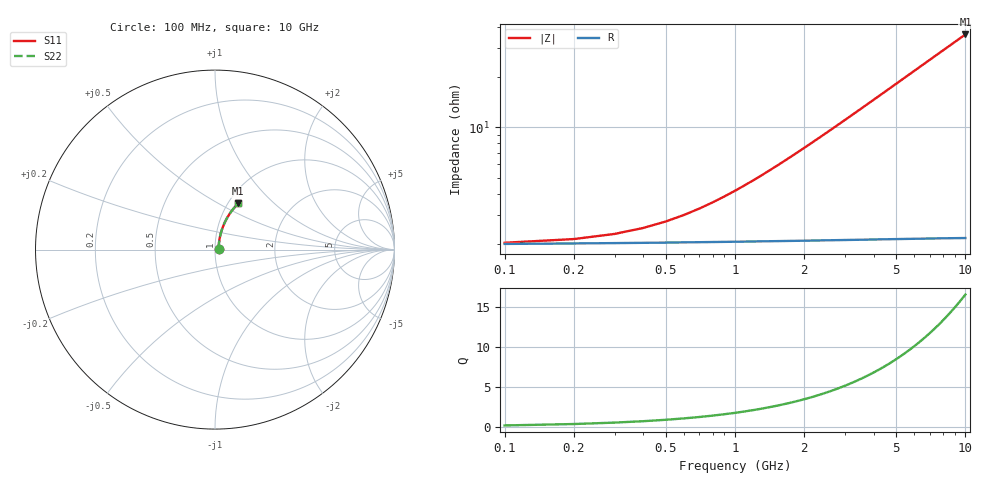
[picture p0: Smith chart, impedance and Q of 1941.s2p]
# Hz S RI R 50.00
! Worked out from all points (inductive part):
!   100 points, 100 MHz to 10 GHz, reference 50 ohm
!   read as one part in series: L = 576 pH near 1.8 GHz
!   highest Q = 16.5 at 10 GHz (marker M1), where L = 571 pH
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1e8  0.0197 0.00296  0.9803 -0.004  0.9803 -0.004  0.0197 0.00296
2e8  0.0198 0.00591  0.9802 -0.008  0.9802 -0.008  0.0198 0.00591
3e8  0.02 0.00887  0.98 -0.012  0.98 -0.012  0.02 0.00887
4e8  0.0201 0.0118  0.9799 -0.016  0.9799 -0.016  0.0201 0.0118
9e8  0.0212 0.0266  0.9788 -0.036  0.9788 -0.036  0.0212 0.0266
1.2e9  0.022 0.0354  0.9779 -0.0479  0.9779 -0.0479  0.022 0.0354
1.5e9  0.0231 0.0442  0.9768 -0.0598  0.9768 -0.0598  0.0231 0.0442
1.8e9  0.0244 0.0529  0.9754 -0.0717  0.9754 -0.0717  0.0244 0.0529
2.1e9  0.0259 0.0616  0.9739 -0.0836  0.9739 -0.0836  0.0259 0.0616
2.5e9  0.0281 0.0731  0.9715 -0.0993  0.9715 -0.0993  0.0281 0.0731
2.9e9  0.0308 0.0846  0.9687 -0.1149  0.9687 -0.1149  0.0308 0.0846
3.4e9  0.0346 0.0987  0.9647 -0.1343  0.9647 -0.1343  0.0346 0.0987
3.8e9  0.038 0.1099  0.9611 -0.1496  0.9611 -0.1496  0.038 0.1099
4.2e9  0.0418 0.1209  0.9572 -0.1648  0.9572 -0.1648  0.0418 0.1209
4.6e9  0.0459 0.1317  0.9528 -0.1799  0.9528 -0.1799  0.0459 0.1317
5.1e9  0.0516 0.1451  0.9469 -0.1985  0.9469 -0.1985  0.0516 0.1451
5.9e9  0.0616 0.1658  0.9364 -0.2276  0.9364 -0.2276  0.0616 0.1658
6.7e9  0.0728 0.1857  0.9246 -0.2559  0.9246 -0.2559  0.0728 0.1857
7.5e9  0.0852 0.2046  0.9116 -0.2833  0.9116 -0.2833  0.0852 0.2046
8.4e9  0.1003 0.2248  0.8957 -0.313  0.8957 -0.313  0.1003 0.2248
9.2e9  0.1148 0.2417  0.8804 -0.3383  0.8804 -0.3383  0.1148 0.2417
1e10  0.1301 0.2574  0.8642 -0.3626  0.8642 -0.3626  0.1301 0.2574
